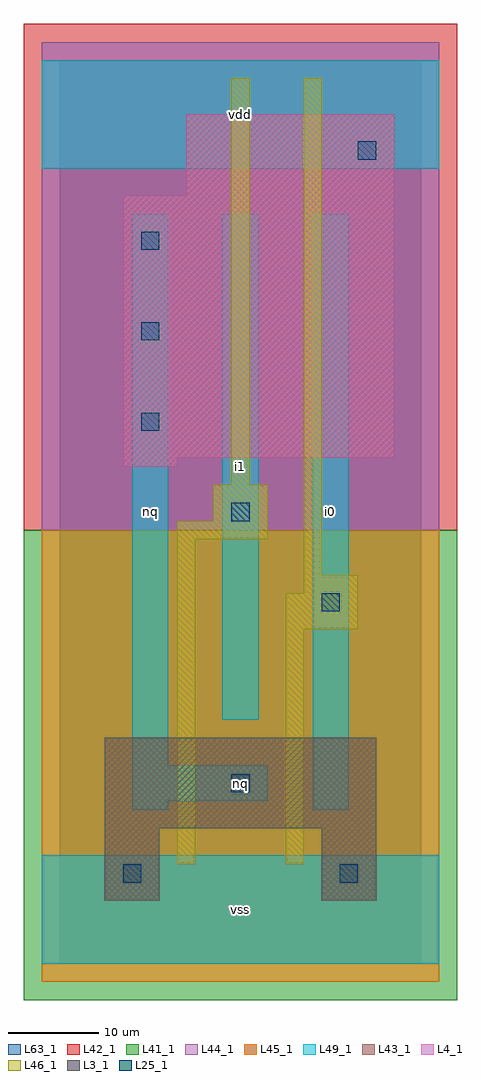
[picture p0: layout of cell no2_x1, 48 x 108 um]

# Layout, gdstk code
import gdstk
lib = gdstk.Library(unit=1e-6, precision=1e-09)
def R(c, l, rs):  # rectangles x0, y0, x1, y1
    for r in rs: c.add(gdstk.rectangle(r[:2], r[2:], *l))
def A(c, l, x, y, w, h, nx, ny, dx, dy):  # array of equal rectangles
    R(c, l, [(x+i*dx, y+j*dy, x+i*dx+w, y+j*dy+h) for i in range(nx) for j in range(ny)])
L3_1 = (3, 1)
L4_1 = (4, 1)
L25_1 = (25, 1)
L41_1 = (41, 1)
L42_1 = (42, 1)
L43_1 = (43, 1)
L44_1 = (44, 1)
L45_1 = (45, 1)
L46_1 = (46, 1)
L49_1 = (49, 1)
L63_1 = (63, 1)

no2_x1 = lib.new_cell('no2_x1')
R(no2_x1, L3_1, [(5,7,11,15), (29,7,35,15), (5,15,35,25)])
R(no2_x1, L4_1, [(7,55,13,56), (7,56,37,85), (14,85,37,94)])
A(no2_x1, L25_1, 9, 59, 2, 2, 1, 3, 0, 10)
R(no2_x1, L25_1, [(7,9,9,11), (31,9,33,11), (19,19,21,21), (29,39,31,41), (19,49,21,51), (33,89,35,91)])
R(no2_x1, L41_1, [(-4,-4,44,48)])
R(no2_x1, L42_1, [(-4,48,44,104)])
R(no2_x1, L43_1, [(5,7,11,15), (29,7,35,15), (5,15,35,25), (7,55,13,56), (7,56,37,85), (14,85,37,94)])
R(no2_x1, L44_1, [(-2,48,42,102)])
R(no2_x1, L45_1, [(-2,-2,42,48)])
R(no2_x1, L46_1, [(13,11,15,47), (25,11,27,37), (25,37,33,41), (27,41,33,43), (27,43,29,98), (13,47,23,49), (17,49,23,53), (19,53,21,98)])
R(no2_x1, L49_1, [(-2,0,42,12), (8,17,12,18), (28,17,32,83), (8,18,23,22), (8,22,12,83), (18,27,22,83), (-2,88,42,100)])
R(no2_x1, L63_1, [(0,0,40,100)])
no2_x1.add(gdstk.Label('nq', (10,50), layer=49, texttype=1))
no2_x1.add(gdstk.Label('nq', (20,20), layer=49, texttype=1))
no2_x1.add(gdstk.Label('vss', (20,6), layer=49, texttype=1))
no2_x1.add(gdstk.Label('i1', (20,55), layer=49, texttype=1))
no2_x1.add(gdstk.Label('vdd', (20,94), layer=49, texttype=1))
no2_x1.add(gdstk.Label('i0', (30,50), layer=49, texttype=1))

lib.write_gds('no2_x1.gds')
